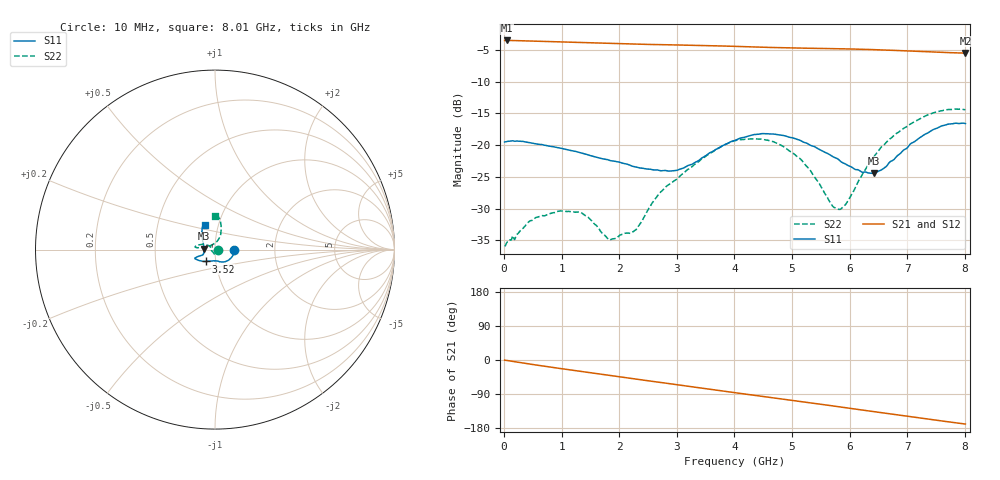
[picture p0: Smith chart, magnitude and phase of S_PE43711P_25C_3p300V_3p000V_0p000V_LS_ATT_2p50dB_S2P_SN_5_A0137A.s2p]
! Device ID: PE43711P
! File Path: z:\PE43711P\CHAR_NOM_04282014\AMB\3p300\LS_ATT_2p50dB\PE43711P_AMB_3p300V_3p000V_0p000V_LS_ATT_2p50dB_S2P_SN_5_A0137A.s2p
! Serial: 5
! Lot: A0137A
! Temp: 25C
! VDD: 3.300
! VSS: 0.000
! Control_Hi: 3.000
! Control_Lo: 0.000
! Attenuation Step: 2.50dB
! Port 1: RF1
! Port 2: RF2
! ThroughPath:1-2
! IDD: 0.0001276522
! ISS: -1.071e-007
#  Hz  S  RI  R  50
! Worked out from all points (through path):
!   801 points, 10 MHz to 8.01 GHz, reference 50 ohm
!   highest |S21| = -3.54 dB at 50 MHz (marker M1); lowest = -5.5 dB at 8.01 GHz (marker M2)
!   group delay of S21, straight-line fit = 58.1 ps
!   lowest |S11| = -24.4 dB at 6.42 GHz (marker M3), VSWR 1.13, Z = 44.4 + j0.444 ohm
!   |S11| at or under -10 dB: start of sweep to end of sweep
!   |S22| runs from -35.9 to -14.3 dB; largest |S21 - S12| = 0.00083
!   S11 on the Smith chart (normalised r, x): 10 MHz: 1.24, -0.00; 3.52 GHz: 0.89, -0.12; 8.01 GHz: 0.86, +0.24
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1e7  0.1059 -0.000603  0.6654 -0.00344  0.6656 -0.00346  0.016 -0.000103
5e7  0.1066 -0.00298  0.6654 -0.0145  0.6653 -0.0145  0.0171 -0.000548
5.7e8  0.0929 -0.0421  0.6378 -0.1531  0.6379 -0.1531  0.0169 -0.0211
9.7e8  0.0732 -0.0601  0.599 -0.2458  0.5992 -0.2459  0.00934 -0.0288
1.35e9  0.0535 -0.0679  0.5519 -0.3255  0.5522 -0.3256  0.00103 -0.0292
1.87e9  0.0316 -0.0682  0.4718 -0.4193  0.4722 -0.4195  -0.0129 -0.0129
2.28e9  0.0187 -0.0648  0.3986 -0.4791  0.399 -0.4793  -0.0212 0.00314
2.68e9  0.00702 -0.0631  0.3229 -0.5261  0.3232 -0.5264  -0.0341 0.0225
3.03e9  -0.0128 -0.0628  0.2516 -0.559  0.2518 -0.5594  -0.0488 0.0265
3.52e9  -0.0516 -0.0658  0.1463 -0.5885  0.1466 -0.5886  -0.0777 0.0288
4.01e9  -0.0914 -0.0593  0.0381 -0.597  0.0379 -0.5975  -0.1064 0.0202
4.35e9  -0.1091 -0.0525  -0.0346 -0.5903  -0.0347 -0.5909  -0.1111 0.0149
4.71e9  -0.112 -0.0477  -0.1089 -0.5757  -0.1087 -0.5758  -0.1043 0.0113
5.13e9  -0.1014 -0.0415  -0.1905 -0.5472  -0.1907 -0.5477  -0.0778 0.0124
5.35e9  -0.0916 -0.0363  -0.2318 -0.5286  -0.232 -0.5292  -0.0583 0.0136
5.69e9  -0.0753 -0.0325  -0.2939 -0.4932  -0.2939 -0.4933  -0.0255 0.0222
5.83e9  -0.0691 -0.0303  -0.318 -0.4759  -0.318 -0.4759  -0.0123 0.0287
5.96e9  -0.065 -0.0251  -0.3394 -0.4586  -0.3393 -0.459  -0.000908 0.0358
6.42e9  -0.0597 0.00499  -0.4075 -0.3889  -0.4077 -0.3893  0.029 0.0756
6.68e9  -0.0649 0.0317  -0.4388 -0.3452  -0.4386 -0.3454  0.0335 0.105
7.45e9  -0.0726 0.1107  -0.4995 -0.2037  -0.4998 -0.2037  0.0215 0.1778
8.01e9  -0.0548 0.1371  -0.5196 -0.1011  -0.5199 -0.1003  0.00134 0.1898
